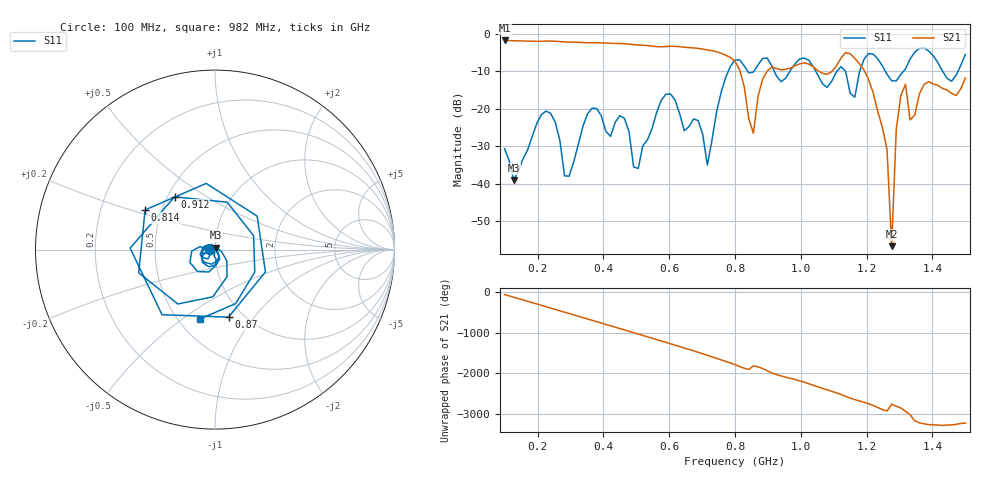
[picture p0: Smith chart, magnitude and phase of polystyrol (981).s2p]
! NanoVNA-App
! Date: 2025-09-25 15:37:31
! Start: 100MHz Stop: 1,5GHz Points: 101
! S-Parameter data: F S11 S21 S12 S22
# Hz S RI R 50
!  Frequency  S11_Real  S11_Imag  S21_Real  S21_Imag  S12_Real  S12_Imag  S22_Real  S22_Imag
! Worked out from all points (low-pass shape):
!   101 points, 100 MHz to 1.5 GHz, reference 50 ohm
!   highest |S21| = -1.80 dB at 100 MHz (marker M1); lowest = -56.7 dB at 1.276 GHz (marker M2)
!   |S21| within 3 dB of the highest: start of sweep to 743.2 MHz
!   lowest |S11| = -39.1 dB at 128 MHz (marker M3), VSWR 1.02, Z = 50.3 + j1.06 ohm
!   |S11| at or under -10 dB: start of sweep to 779.7 MHz; 1.045 GHz to 1.11 GHz (65.11 MHz wide, 6.04 % of centre); 1.136 GHz to 1.179 GHz (43.24 MHz wide, 3.74 % of centre) (the widest 3 of 7)
!   S12 and S22 are empty: the file has one direction only
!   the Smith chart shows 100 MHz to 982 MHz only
!   S11 on the Smith chart (normalised r, x): 100 MHz: 0.94, -0.01; 814 MHz: 0.40, +0.22; 870 MHz: 0.86, -0.76; 912 MHz: 0.54, +0.37; 982 MHz: 0.64, -0.58
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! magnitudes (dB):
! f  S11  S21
! 100 MHz  -30.7  -1.8
! 128 MHz  -39.1  -1.9
! 212 MHz  -21.6  -2.0
! 282 MHz  -37.9  -2.2
! 338 MHz  -24.7  -2.4
! 506 MHz  -36.0  -3.0
! 576 MHz  -17.8  -3.5
! 716 MHz  -35.1  -4.3
! 800 MHz  -7.0  -7.4
! 814 MHz  -7.0  -9.6
! 856 MHz  -10.2  -26.6
! 870 MHz  -8.3  -16.7
! 912 MHz  -8.6  -8.9
! 982 MHz  -8.1  -8.6
! 1.038 GHz  -8.8  -8.9
! 1.164 GHz  -16.9  -6.6
! 1.206 GHz  -5.3  -12.2
! 1.262 GHz  -10.8  -31.1
! 1.276 GHz  -12.6  -56.7
! 1.29 GHz  -12.6  -25.5
! 1.318 GHz  -9.4  -13.5
! 1.5 GHz  -5.5  -11.8
